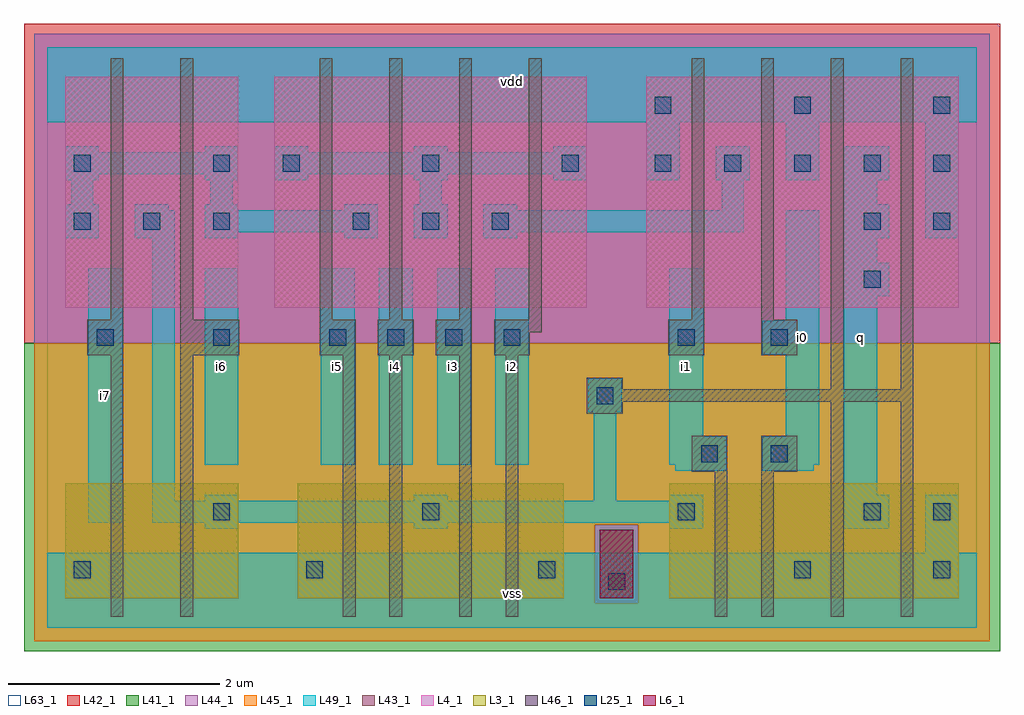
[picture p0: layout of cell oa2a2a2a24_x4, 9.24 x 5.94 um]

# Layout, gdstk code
import gdstk
lib = gdstk.Library(unit=1e-6, precision=1e-09)
def R(c, l, rs):  # rectangles x0, y0, x1, y1
    for r in rs: c.add(gdstk.rectangle(r[:2], r[2:], *l))
def A(c, l, x, y, w, h, nx, ny, dx, dy):  # array of equal rectangles
    R(c, l, [(x+i*dx, y+j*dy, x+i*dx+w, y+j*dy+h) for i in range(nx) for j in range(ny)])
L3_1 = (3, 1)
L4_1 = (4, 1)
L6_1 = (6, 1)
L25_1 = (25, 1)
L41_1 = (41, 1)
L42_1 = (42, 1)
L43_1 = (43, 1)
L44_1 = (44, 1)
L45_1 = (45, 1)
L46_1 = (46, 1)
L49_1 = (49, 1)
L63_1 = (63, 1)

oa2a2a2a24_x4 = lib.new_cell('oa2a2a2a24_x4')
R(oa2a2a2a24_x4, L3_1, [(0.17,0.28,1.81,1.37), (2.37,0.28,4.89,1.37), (5.89,0.28,8.63,1.37)])
R(oa2a2a2a24_x4, L4_1, [(0.17,3.03,1.81,5.22), (2.15,3.03,5.11,5.22), (5.67,3.03,8.63,5.22)])
R(oa2a2a2a24_x4, L6_1, [(5.23,0.28,5.55,0.93)])
A(oa2a2a2a24_x4, L25_1, 0.25, 0.47, 0.16, 0.16, 3, 1, 2.2, 0)
A(oa2a2a2a24_x4, L25_1, 0.47, 2.67, 0.16, 0.16, 3, 1, 1.1, 0)
A(oa2a2a2a24_x4, L25_1, 3.22, 2.67, 0.16, 0.16, 3, 1, 0.55, 0)
A(oa2a2a2a24_x4, L25_1, 0.25, 3.77, 0.16, 0.16, 3, 1, 0.66, 0)
A(oa2a2a2a24_x4, L25_1, 2.89, 3.77, 0.16, 0.16, 3, 1, 0.66, 0)
A(oa2a2a2a24_x4, L25_1, 2.23, 4.32, 0.16, 0.16, 3, 1, 1.32, 0)
A(oa2a2a2a24_x4, L25_1, 5.75, 4.32, 0.16, 0.16, 5, 1, 0.66, 0)
A(oa2a2a2a24_x4, L25_1, 5.75, 4.87, 0.16, 0.16, 3, 1, 1.32, 0)
R(oa2a2a2a24_x4, L25_1, [(5.31,0.36,5.47,0.52), (7.07,0.47,7.23,0.63), (8.39,0.47,8.55,0.63), (1.57,1.02,1.73,1.18), (3.55,1.02,3.71,1.18), (5.97,1.02,6.13,1.18), (7.73,1.02,7.89,1.18), (8.39,1.02,8.55,1.18), (6.19,1.57,6.35,1.73), (6.85,1.57,7.01,1.73), (5.2,2.12,5.36,2.28), (5.97,2.67,6.13,2.83), (6.85,2.67,7.01,2.83), (7.73,3.22,7.89,3.38), (7.73,3.77,7.89,3.93), (8.39,3.77,8.55,3.93), (0.25,4.32,0.41,4.48), (1.57,4.32,1.73,4.48)])
R(oa2a2a2a24_x4, L41_1, [(-0.22,-0.22,9.02,2.695)])
R(oa2a2a2a24_x4, L42_1, [(-0.22,2.695,9.02,5.72)])
R(oa2a2a2a24_x4, L43_1, [(0.17,0.28,1.81,1.37), (2.37,0.28,4.89,1.37), (5.23,0.28,5.55,0.93), (5.89,0.28,8.63,1.37), (0.17,3.03,1.81,5.22), (2.15,3.03,5.11,5.22), (5.67,3.03,8.63,5.22)])
R(oa2a2a2a24_x4, L44_1, [(5.185,0.235,5.595,0.975), (-0.125,2.695,8.925,5.625)])
R(oa2a2a2a24_x4, L45_1, [(-0.125,-0.125,8.925,0.235), (-0.125,0.235,5.185,0.975), (5.595,0.235,8.925,0.975), (-0.125,0.975,8.925,2.695)])
A(oa2a2a2a24_x4, L46_1, 2.58, 2.58, 0.34, 0.34, 3, 1, 0.55, 0)
A(oa2a2a2a24_x4, L46_1, 2.58, 2.92, 0.12, 2.475, 4, 1, 0.66, 0)
R(oa2a2a2a24_x4, L46_1, [(0.6,0.105,0.72,2.58), (1.26,0.105,1.38,2.58), (2.8,0.105,2.92,2.58), (3.24,0.105,3.36,2.58), (3.9,0.105,4.02,2.58), (4.34,0.105,4.46,2.58), (6.32,0.105,6.44,1.48), (6.76,0.105,6.88,1.48), (7.42,0.105,7.54,2.14), (8.08,0.105,8.2,2.14), (6.1,1.48,6.44,1.82), (6.76,1.48,7.1,1.82), (5.11,2.03,5.45,2.14), (5.11,2.14,8.2,2.26), (5.11,2.26,5.45,2.37), (7.42,2.26,7.54,5.395), (8.08,2.26,8.2,5.395), (0.38,2.58,0.72,2.92), (1.26,2.58,1.82,2.92), (4.23,2.58,4.57,2.8), (5.88,2.58,6.22,2.92), (6.76,2.58,7.1,2.92), (4.23,2.8,4.68,2.92), (0.6,2.92,0.72,5.395), (1.26,2.92,1.38,5.395), (6.1,2.92,6.22,5.395), (6.76,2.92,6.88,5.395)])
A(oa2a2a2a24_x4, L49_1, 2.59, 1.545, 0.32, 1.86, 4, 1, 0.55, 0)
A(oa2a2a2a24_x4, L49_1, 7.54, 3.14, 0.43, 0.32, 1, 3, 0, 0.55)
A(oa2a2a2a24_x4, L49_1, 1.49, 3.69, 0.32, 0.055, 3, 2, 1.32, 0.265)
A(oa2a2a2a24_x4, L49_1, 2.15, 4.24, 0.32, 0.055, 3, 2, 1.32, 0.265)
R(oa2a2a2a24_x4, L49_1, [(0,0,8.8,0.71), (8.31,0.71,8.63,1.26), (1.49,0.94,1.81,0.995), (3.47,0.94,3.79,0.995), (5.89,0.94,6.21,0.995), (7.54,0.94,7.97,1.26), (0.39,0.995,0.71,3.405), (0.995,0.995,6.21,1.205), (0.995,1.205,1.205,3.69), (1.49,1.205,1.81,1.26), (3.47,1.205,3.79,1.26), (5.175,1.205,5.385,2.04), (5.89,1.205,6.21,1.26), (7.54,1.26,7.86,3.14), (5.945,1.49,6.43,1.545), (6.77,1.49,7.255,1.545), (1.49,1.545,1.81,3.405), (5.89,1.545,6.43,1.81), (6.77,1.545,7.31,1.81), (5.89,1.81,6.21,3.405), (6.99,1.81,7.31,2.59), (5.12,2.04,5.44,2.36), (6.77,2.59,7.31,2.91), (6.99,2.91,7.31,3.955), (7.54,3.46,7.86,3.69), (0.17,3.69,0.49,4.01), (0.83,3.69,1.205,3.955), (3.47,3.69,3.79,4.01), (8.31,3.69,8.63,4.79), (1.49,3.745,3.13,3.955), (4.13,3.745,6.595,3.955), (0.83,3.955,1.15,4.01), (6.385,3.955,6.595,4.24), (0.225,4.01,0.435,4.24), (1.545,4.01,1.755,4.24), (3.525,4.01,3.735,4.24), (7.54,4.01,7.86,4.24), (0.17,4.24,0.49,4.295), (1.49,4.24,1.81,4.295), (5.67,4.24,5.99,4.79), (6.33,4.24,6.65,4.56), (6.99,4.24,7.31,4.79), (0.17,4.295,1.81,4.505), (2.15,4.295,5.11,4.505), (0.17,4.505,0.49,4.56), (1.49,4.505,1.81,4.56), (0,4.79,8.8,5.5)])
R(oa2a2a2a24_x4, L63_1, [(0,0,8.8,5.5)])
oa2a2a2a24_x4.add(gdstk.Label('i7', (0.55,2.2), layer=49, texttype=1))
oa2a2a2a24_x4.add(gdstk.Label('i7', (0.55,2.2), layer=49, texttype=1))
oa2a2a2a24_x4.add(gdstk.Label('i6', (1.65,2.475), layer=49, texttype=1))
oa2a2a2a24_x4.add(gdstk.Label('i6', (1.65,2.475), layer=49, texttype=1))
oa2a2a2a24_x4.add(gdstk.Label('i5', (2.75,2.475), layer=49, texttype=1))
oa2a2a2a24_x4.add(gdstk.Label('i4', (3.3,2.475), layer=49, texttype=1))
oa2a2a2a24_x4.add(gdstk.Label('i4', (3.3,2.475), layer=49, texttype=1))
oa2a2a2a24_x4.add(gdstk.Label('i5', (2.75,2.475), layer=49, texttype=1))
oa2a2a2a24_x4.add(gdstk.Label('vss', (4.4,0.33), layer=49, texttype=1))
oa2a2a2a24_x4.add(gdstk.Label('vss', (4.4,0.33), layer=49, texttype=1))
oa2a2a2a24_x4.add(gdstk.Label('i2', (4.4,2.475), layer=49, texttype=1))
oa2a2a2a24_x4.add(gdstk.Label('i3', (3.85,2.475), layer=49, texttype=1))
oa2a2a2a24_x4.add(gdstk.Label('i3', (3.85,2.475), layer=49, texttype=1))
oa2a2a2a24_x4.add(gdstk.Label('i2', (4.4,2.475), layer=49, texttype=1))
oa2a2a2a24_x4.add(gdstk.Label('vdd', (4.4,5.17), layer=49, texttype=1))
oa2a2a2a24_x4.add(gdstk.Label('vdd', (4.4,5.17), layer=49, texttype=1))
oa2a2a2a24_x4.add(gdstk.Label('i1', (6.05,2.475), layer=49, texttype=1))
oa2a2a2a24_x4.add(gdstk.Label('i1', (6.05,2.475), layer=49, texttype=1))
oa2a2a2a24_x4.add(gdstk.Label('i0', (7.15,2.75), layer=49, texttype=1))
oa2a2a2a24_x4.add(gdstk.Label('i0', (7.15,2.75), layer=49, texttype=1))
oa2a2a2a24_x4.add(gdstk.Label('q', (7.7,2.75), layer=49, texttype=1))
oa2a2a2a24_x4.add(gdstk.Label('q', (7.7,2.75), layer=49, texttype=1))

lib.write_gds('oa2a2a2a24_x4.gds')
